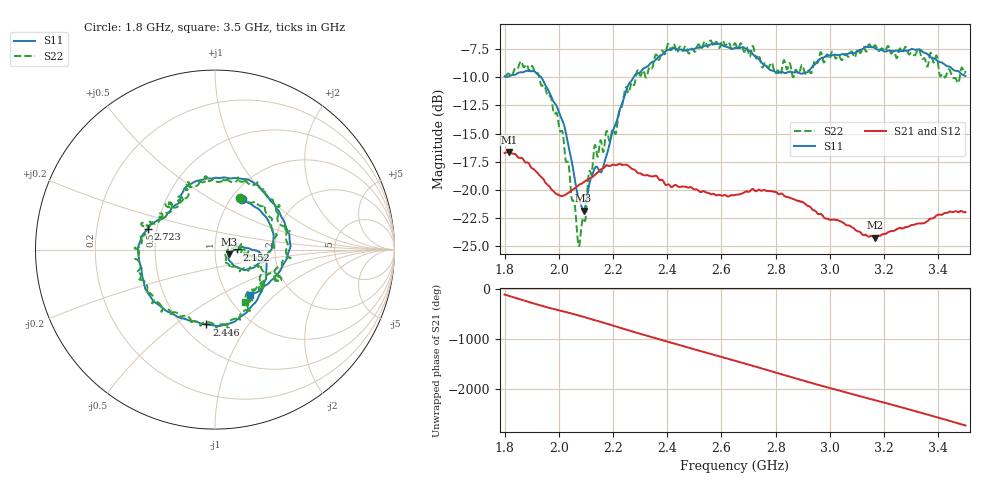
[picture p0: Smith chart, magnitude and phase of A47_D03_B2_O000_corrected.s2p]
! Created with skrf 1.9.0 (http://scikit-rf.org).
# Hz S RI R 50.0
!freq ReS11 ImS11 ReS21 ImS21 ReS12 ImS12 ReS22 ImS22
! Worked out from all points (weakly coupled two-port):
!   1601 points, 1.8 GHz to 3.5 GHz, reference 50 ohm
!   highest |S21| = -16.64 dB at 1.817 GHz (marker M1); lowest = -24.2 dB at 3.165 GHz (marker M2)
!   lowest |S11| = -21.9 dB at 2.091 GHz (marker M3), VSWR 1.18, Z = 58.2 - j2.96 ohm
!   |S11| at or under -10 dB: 1.935 GHz to 2.276 GHz (340.7 MHz wide, 16.2 % of centre)
!   |S22| runs from -25.0 to -6.7 dB; largest |S21 - S12| = 0.0025
!   S11 on the Smith chart (normalised r, x): 1.8 GHz: 1.12, +0.70; 2.152 GHz: 1.27, +0.00; 2.446 GHz: 0.65, -0.66; 2.723 GHz: 0.44, +0.12; 3.5 GHz: 1.25, -0.71
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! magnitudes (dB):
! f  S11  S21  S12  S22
! 1.8 GHz  -9.9  -16.7  -16.7  -9.9
! 1.817 GHz  -9.9  -16.6  -16.6  -9.7
! 1.903 GHz  -9.4  -18.1  -18.1  -9.0
! 1.968 GHz  -11.5  -19.8  -19.8  -11.7
! 2.014 GHz  -13.9  -20.5  -20.5  -14.9
! 2.071 GHz  -20.5  -19.6  -19.7  -24.7
! 2.084 GHz  -21.5  -19.5  -19.4  -23.2
! 2.091 GHz  -21.9  -19.3  -19.4  -22.5
! 2.13 GHz  -18.2  -18.7  -18.7  -16.3
! 2.152 GHz  -18.4  -18.2  -18.3  -15.8
! 2.209 GHz  -14.2  -17.8  -17.8  -15.0
! 2.258 GHz  -10.6  -17.9  -17.9  -11.4
! 2.367 GHz  -8.2  -19.0  -18.9  -8.4
! 2.446 GHz  -7.5  -19.7  -19.7  -7.3
! 2.65 GHz  -7.4  -20.5  -20.4  -7.0
! 2.723 GHz  -8.1  -20.1  -20.0  -7.9
! 2.803 GHz  -9.6  -20.2  -20.2  -9.5
! 2.934 GHz  -9.1  -21.7  -21.7  -9.5
! 3.165 GHz  -7.4  -24.2  -24.2  -7.2
! 3.217 GHz  -7.6  -23.7  -23.7  -7.3
! 3.469 GHz  -9.4  -21.9  -21.9  -10.4
! 3.5 GHz  -9.9  -22.0  -22.0  -9.4
